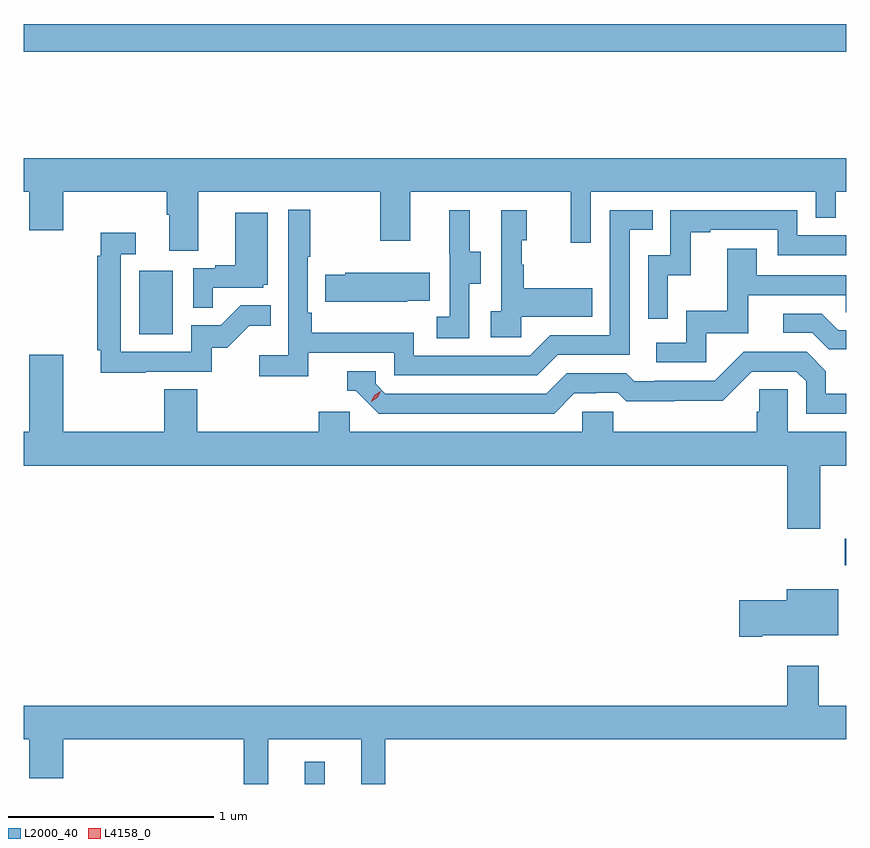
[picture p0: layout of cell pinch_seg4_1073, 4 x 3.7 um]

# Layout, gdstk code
import gdstk
lib = gdstk.Library(unit=1e-6, precision=1e-09)
def R(c, l, rs):  # rectangles x0, y0, x1, y1
    for r in rs: c.add(gdstk.rectangle(r[:2], r[2:], *l))
def P(c, l, *ps):  # polygons
    for p in ps: c.add(gdstk.Polygon(p, *l))
L2000_40 = (2000, 40)
L4158_0 = (4158, 0)

pinch_seg4_1073 = lib.new_cell('pinch_seg4_1073')
R(pinch_seg4_1073, L2000_40, [(885.627,755.311,885.724,755.419), (888.255,756.375,888.261,756.504), (884.822,757.5,884.986,757.807), (884.261,758.872,888.261,759.008)])
P(pinch_seg4_1073, L2000_40, [(885.109,758.192),(885.994,758.192),(885.994,757.953),(886.141,757.953),(886.141,758.192),(886.922,758.192),(886.922,757.944),(887.019,757.944),(887.019,758.192),(888.114,758.192),(888.114,758.065),(888.21,758.065),(888.21,758.192),(888.261,758.192),(888.261,758.356),(884.261,758.356),(884.261,758.192),(884.288,758.192),(884.288,758.004),(884.452,758.004),(884.452,758.192),(884.957,758.192),(884.957,758.08),(884.969,758.08),(884.969,757.906),(885.109,757.906)],
  [(885.644,757.41),(886.062,757.41),(886.062,757.299),(886.759,757.299),(886.858,757.398),(887.208,757.398),(887.208,758.007),(887.321,758.007),(887.321,758.103),(887.112,758.103),(887.112,757.494),(886.821,757.494),(886.722,757.395),(886.158,757.395),(886.158,757.507),(885.662,757.507),(885.662,757.603),(885.642,757.603),(885.642,757.876),(885.655,757.876),(885.655,758.104),(885.546,758.104),(885.546,757.396),(885.405,757.396),(885.405,757.294),(885.644,757.294)],
  [(887.394,757.787),(887.504,757.787),(887.504,757.995),(887.599,757.995),(887.599,758.007),(887.928,758.007),(887.928,757.884),(888.261,757.884),(888.261,757.98),(888.024,757.98),(888.024,758.103),(887.406,758.103),(887.406,757.884),(887.298,757.884),(887.298,757.575),(887.394,757.575)],
  [(886.68,757.583),(887.027,757.583),(887.027,757.723),(886.693,757.723),(886.693,757.838),(886.683,757.838),(886.683,757.956),(886.708,757.956),(886.708,758.101),(886.584,758.101),(886.584,757.61),(886.533,757.61),(886.533,757.485),(886.68,757.485)],
  [(886.428,757.744),(886.483,757.744),(886.483,757.899),(886.429,757.899),(886.429,758.101),(886.331,758.101),(886.331,757.887),(886.332,757.887),(886.332,757.583),(886.269,757.583),(886.269,757.48),(886.428,757.48)],
  [(885.179,757.725),(885.426,757.725),(885.426,757.74),(885.448,757.74),(885.448,758.089),(885.29,758.089),(885.29,757.834),(885.191,757.834),(885.191,757.821),(885.084,757.821),(885.084,757.627),(885.179,757.627)],
  [(884.855,757.317),(885.174,757.317),(885.174,757.434),(885.25,757.434),(885.357,757.541),(885.461,757.541),(885.461,757.64),(885.317,757.64),(885.219,757.542),(885.075,757.542),(885.075,757.413),(884.733,757.413),(884.733,757.887),(884.806,757.887),(884.806,757.993),(884.636,757.993),(884.636,757.88),(884.617,757.88),(884.617,757.42),(884.636,757.42),(884.636,757.312),(884.855,757.312)],
  [(887.58,757.503),(887.785,757.503),(887.785,757.689),(888.259,757.689),(888.259,757.605),(888.261,757.605),(888.261,757.785),(887.827,757.785),(887.827,757.915),(887.683,757.915),(887.683,757.612),(887.484,757.612),(887.484,757.458),(887.337,757.458),(887.337,757.362),(887.58,757.362)],
  [(886.127,757.661),(886.235,757.661),(886.235,757.798),(885.825,757.798),(885.825,757.788),(885.727,757.788),(885.727,757.658),(886.127,757.658)],
  [(888.261,757.518),(888.223,757.518),(888.142,757.599),(887.955,757.599),(887.955,757.506),(888.096,757.506),(888.176,757.426),(888.261,757.426)],
  [(886.939,757.212),(887.046,757.212),(887.046,757.215),(887.149,757.215),(887.191,757.173),(887.424,757.173),(887.424,757.175),(887.66,757.175),(887.802,757.317),(888.018,757.317),(888.066,757.269),(888.066,757.113),(888.261,757.113),(888.261,757.209),(888.163,757.209),(888.163,757.319),(888.069,757.413),(887.763,757.413),(887.622,757.272),(887.329,757.272),(887.329,757.269),(887.23,757.269),(887.191,757.308),(886.902,757.308),(886.803,757.209),(886.02,757.209),(885.972,757.257),(885.972,757.32),(885.833,757.32),(885.833,757.224),(885.876,757.224),(885.987,757.113),(886.84,757.113)],
  [(888.135,756.86),(888.261,756.86),(888.261,757.024),(887.976,757.024),(887.976,757.232),(887.839,757.232),(887.839,757.122),(887.825,757.122),(887.825,757.024),(887.127,757.024),(887.127,757.122),(886.977,757.122),(886.977,757.024),(885.846,757.024),(885.846,757.122),(885.695,757.122),(885.695,757.024),(885.104,757.024),(885.104,757.232),(884.944,757.232),(884.944,757.024),(884.452,757.024),(884.452,757.399),(884.288,757.399),(884.288,757.024),(884.261,757.024),(884.261,756.86),(887.975,756.86),(887.975,756.552),(888.135,756.552)],
  [(887.854,756.035),(888.223,756.035),(888.223,756.259),(887.972,756.259),(887.972,756.206),(887.742,756.206),(887.742,756.028),(887.854,756.028)],
  [(884.261,755.528),(884.288,755.528),(884.288,755.34),(884.452,755.34),(884.452,755.528),(885.331,755.528),(885.331,755.311),(885.449,755.311),(885.449,755.528),(885.902,755.528),(885.902,755.311),(886.019,755.311),(886.019,755.528),(888.261,755.528),(888.261,755.692),(888.127,755.692),(888.127,755.887),(887.975,755.887),(887.975,755.692),(884.261,755.692)])
P(pinch_seg4_1073, L4158_0, [(885.95,757.17),(885.95,757.17),(885.966,757.202),(885.997,757.222),(885.997,757.222),(885.997,757.222),(885.981,757.189),(885.951,757.17)])

lib.write_gds('pinch_seg4_1073.gds')
